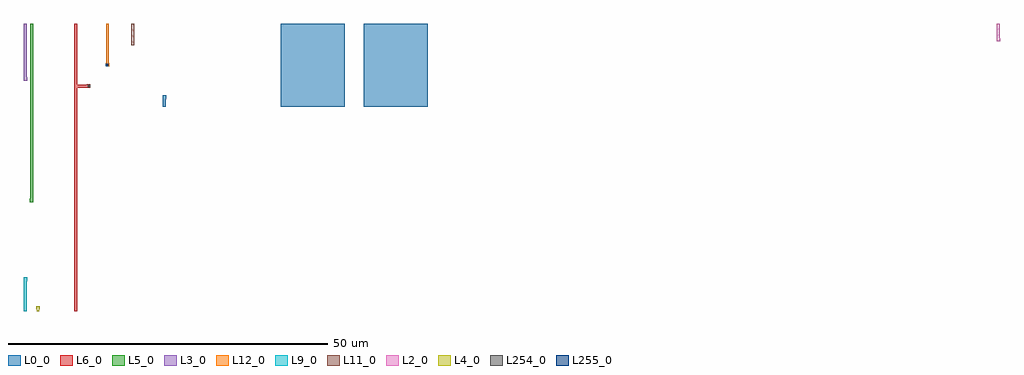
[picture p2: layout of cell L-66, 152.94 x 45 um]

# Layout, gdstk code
import gdstk
lib = gdstk.Library(unit=1e-6, precision=1e-09)
def P(c, l, *ps):  # polygons
    for p in ps: c.add(gdstk.Polygon(p, *l))
L0_0 = (0, 0)
L2_0 = (2, 0)
L3_0 = (3, 0)
L4_0 = (4, 0)
L5_0 = (5, 0)
L6_0 = (6, 0)
L9_0 = (9, 0)
L11_0 = (11, 0)
L12_0 = (12, 0)
L254_0 = (254, 0)
L255_0 = (255, 0)

l_66 = lib.new_cell('L-66')
P(l_66, L0_0, [(1250.24,775),(1250.24,762),(1240.24,762),(1240.24,775),(1250.24,775)],
  [(1240.24,774.88),(1250.24,774.88),(1250.24,774.08),(1240.24,774.08),(1240.24,774.88)],
  [(1240.24,764.8),(1250.24,764.8),(1250.24,764),(1240.24,764),(1240.24,764.8)],
  [(1240.24,762),(1240.24,762.62),(1250.24,762.62),(1250.24,762),(1240.24,762)],
  [(1263.24,775),(1263.24,762),(1253.24,762),(1253.24,775),(1263.24,775)],
  [(1253.24,769.84),(1263.24,769.84),(1263.24,769.04),(1253.24,769.04),(1253.24,769.84)],
  [(1260.33,764.39),(1260.87,764.39),(1260.87,763.85),(1260.33,763.85),(1260.33,764.39)],
  [(1221.72,763.83),(1222.26,763.83),(1222.26,763.29),(1221.72,763.29),(1221.72,763.83)],
  [(1221.77,762),(1221.77,763.78),(1222.21,763.78),(1222.21,762),(1221.77,762)])
P(l_66, L2_0, [(1352.89,775),(1352.89,772.3),(1352.45,772.3),(1352.45,775),(1352.89,775)],
  [(1352.4,772.79),(1352.94,772.79),(1352.94,772.25),(1352.4,772.25),(1352.4,772.79)])
P(l_66, L3_0, [(1200,775),(1200.43,775),(1200.43,766.14),(1200,766.14),(1200,775)],
  [(1200,766.63),(1200.48,766.63),(1200.48,766.09),(1200,766.09),(1200,766.63)])
P(l_66, L4_0, [(1201.97,730),(1201.97,730.74),(1202.41,730.74),(1202.41,730),(1201.97,730)],
  [(1201.92,730.79),(1202.46,730.79),(1202.46,730.25),(1201.92,730.25),(1201.92,730.79)])
P(l_66, L5_0, [(1200.93,747.59),(1201.47,747.59),(1201.47,747.05),(1200.93,747.05),(1200.93,747.59)],
  [(1201.42,775),(1201.42,747.1),(1200.98,747.1),(1200.98,775),(1201.42,775)])
P(l_66, L6_0, [(1207.91,765.46),(1210.33,765.46),(1210.33,765.02),(1207.91,765.02),(1207.91,765.46)],
  [(1209.84,765.51),(1210.38,765.51),(1210.38,764.97),(1209.84,764.97),(1209.84,765.51)],
  [(1207.91,730),(1207.91,765.46),(1208.35,765.46),(1208.35,730),(1207.91,730)],
  [(1208.35,775),(1208.35,765.02),(1207.91,765.02),(1207.91,775),(1208.35,775)],
  [(1207.91,765.46),(1210.33,765.46),(1210.33,765.02),(1207.91,765.02),(1207.91,765.46)],
  [(1208.35,775),(1208.35,765.02),(1207.91,765.02),(1207.91,775),(1208.35,775)],
  [(1207.91,765.46),(1210.33,765.46),(1210.33,765.02),(1207.91,765.02),(1207.91,765.46)],
  [(1209.84,765.51),(1210.38,765.51),(1210.38,764.97),(1209.84,764.97),(1209.84,765.51)])
P(l_66, L9_0, [(1200,735.22),(1200.43,735.22),(1200.43,730),(1200,730),(1200,735.22)],
  [(1200,735.27),(1200.48,735.27),(1200.48,734.73),(1200,734.73),(1200,735.27)])
P(l_66, L11_0, [(1217.26,775),(1217.26,771.74),(1216.82,771.74),(1216.82,775),(1217.26,775)],
  [(1216.77,772.23),(1217.31,772.23),(1217.31,771.69),(1216.77,771.69),(1216.77,772.23)])
P(l_66, L12_0, [(1213.3,775),(1213.3,768.38),(1212.86,768.38),(1212.86,775),(1213.3,775)],
  [(1212.81,768.87),(1213.35,768.87),(1213.35,768.33),(1212.81,768.33),(1212.81,768.87)])
P(l_66, L254_0, [(1209.998,765.1),(1209.998,765.5),(1210.398,765.5),(1210.398,765.1),(1209.998,765.1)])
P(l_66, L255_0, [(1212.832,768.339),(1212.832,768.739),(1213.232,768.739),(1213.232,768.339),(1212.832,768.339)])

lib.write_gds('L-66.gds')
